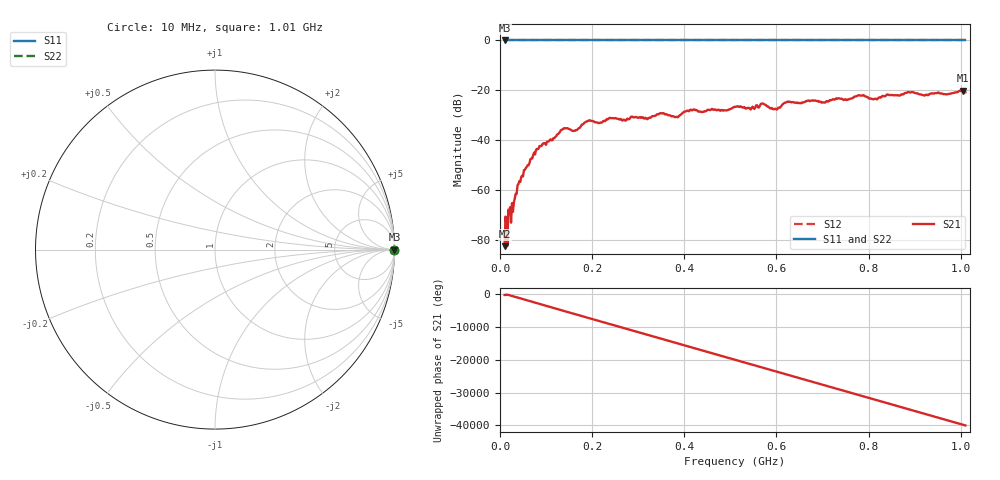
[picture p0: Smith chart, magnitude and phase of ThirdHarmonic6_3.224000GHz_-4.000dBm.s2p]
! 8/17/2025 9:51:01 AM
! C:\ANRITSUVNA\TEMP\TEMP.S2P
! CHANNEL.1
! TR.MEASUREMENT
! RAW.DATA
! RF.CORRECTION.OFF
! AVERAGING.OFF
! IF.BANDWIDTH: 5KHZ
! SWEEPTYPE:  FREQ.SWEEP(Linear)
! Reference Plane Port Info
! PORT:  PORT1  PORT2
! DISTANCE:  0  m  0  m
! TIME:  0  s  0  s
! PHASE.OFFSET:  0  deg.  0  deg.
! LOSS:  0  dB  0  dB
! REF.LOSS:  0  dB  0  dB
! REF.FREQ:  0  Hz  0  Hz
! Power Info
! POWER:  -20  dBm  -20  dBm
! EFF.POWER:  -20  dBm  -20  dBm
! SOURCE.ATTEN:  0  dB  0  dB
! TEST.ATTEN:  0  dB  0  dB
# GHZ S RI R 50.0
! FREQ.GHZ  S11RE  S11IM  S21RE  S21IM  S12RE  S12IM  S22RE  S22IM
!; PortSelection: Port_12
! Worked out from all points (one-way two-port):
!   501 points, 10 MHz to 1.01 GHz, reference 50 ohm
!   highest |S21| = -20.07 dB at 1.004 GHz (marker M1); lowest = -82.5 dB at 10 MHz (marker M2)
!   lowest |S11| = 0.0 dB at 10 MHz (marker M3)
!   |S11| at or under -10 dB: nowhere
!   |S22| runs from 0.0 to 0.0 dB; largest |S21 - S12| = 1.1
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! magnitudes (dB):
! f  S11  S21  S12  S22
! 10 MHz  0.0  -82.5  0.0  0.0
! 20 MHz  0.0  -68.6  0.0  0.0
! 22 MHz  0.0  -66.9  0.0  0.0
! 28 MHz  0.0  -68.7  0.0  0.0
! 42 MHz  0.0  -56.4  0.0  0.0
! 76 MHz  0.0  -45.7  0.0  0.0
! 136 MHz  0.0  -35.6  0.0  0.0
! 162 MHz  0.0  -36.3  0.0  0.0
! 178 MHz  0.0  -33.7  0.0  0.0
! 192 MHz  0.0  -32.2  0.0  0.0
! 322 MHz  0.0  -31.2  0.0  0.0
! 344 MHz  0.0  -29.6  0.0  0.0
! 384 MHz  0.0  -30.6  0.0  0.0
! 418 MHz  0.0  -28.0  0.0  0.0
! 510 MHz  0.0  -26.6  0.0  0.0
! 570 MHz  0.0  -25.3  0.0  0.0
! 598 MHz  0.0  -27.4  0.0  0.0
! 622 MHz  0.0  -24.7  0.0  0.0
! 678 MHz  0.0  -24.0  0.0  0.0
! 844 MHz  0.0  -21.9  0.0  0.0
! 1.004 GHz  0.0  -20.1  0.0  0.0
! 1.01 GHz  0.0  -20.8  0.0  0.0
